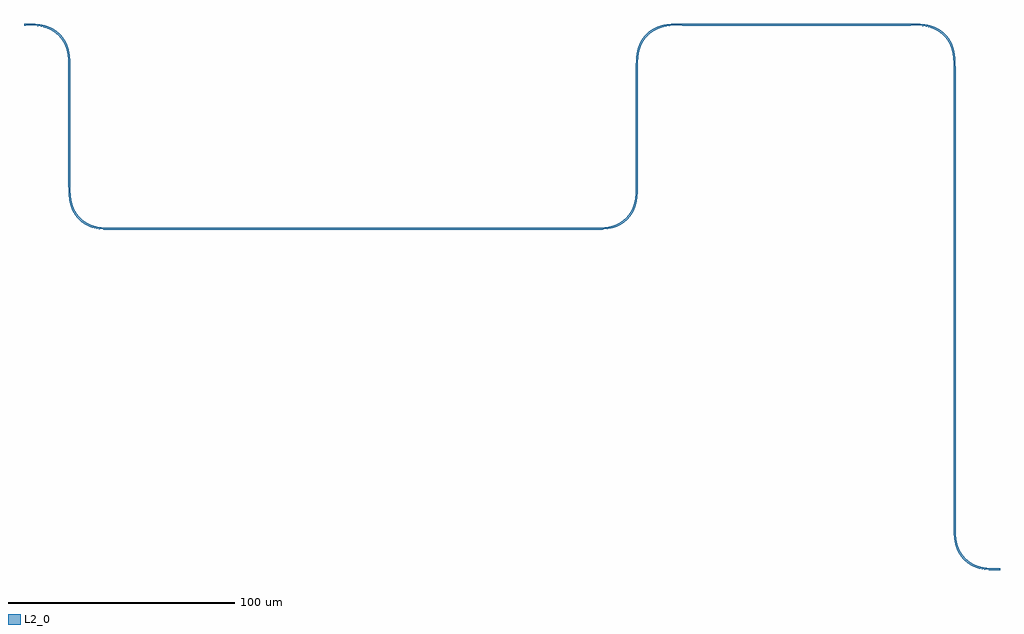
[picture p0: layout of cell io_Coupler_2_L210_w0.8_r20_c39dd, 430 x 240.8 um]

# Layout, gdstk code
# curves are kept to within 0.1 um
from math import pi, radians
import gdstk
lib = gdstk.Library(unit=1e-6, precision=1e-09)
def R(c, l, rs):  # rectangles x0, y0, x1, y1
    for r in rs: c.add(gdstk.rectangle(r[:2], r[2:], *l))
def P(c, l, *ps):  # polygons
    for p in ps: c.add(gdstk.Polygon(p, *l))
L2_0 = (2, 0)

straight_gdsfactorypcom_ = lib.new_cell('straight_gdsfactorypcom_d83b1bdf')
R(straight_gdsfactorypcom_, L2_0, [(0,-0.4,50,0.4)])

c_straight_gdsfactorypcom_ = lib.new_cell('straight_gdsfactorypcom_05114690')
R(c_straight_gdsfactorypcom_, L2_0, [(0,-0.4,210,0.4)])

c_straight_gdsfactorypcom__ = lib.new_cell('straight_gdsfactorypcom_837bf467')
R(c_straight_gdsfactorypcom__, L2_0, [(0,-0.4,100,0.4)])

c_straight_gdsfactorypcom___ = lib.new_cell('straight_gdsfactorypcom_71d76de8')
R(c_straight_gdsfactorypcom___, L2_0, [(0,-0.4,200,0.4)])

bend_euler_gdsfactorypc_ = lib.new_cell('bend_euler_gdsfactorypc_3c996f5a')
P(bend_euler_gdsfactorypc_, L2_0, [(0,-0.4),(0,0.4),(5.697,0.599),(7.863,0.93),(9.843,1.459),(11.318,2.047),(12.676,2.776),(13.982,3.683),(15.151,4.711),(16.237,5.916),(17.173,7.241),(17.946,8.667),(18.515,10.08),(19.04,11.993),(19.394,14.238),(19.562,16.7),(19.6,20),(20.4,20),(20.23,14.555),(19.941,12.425),(19.503,10.554),(18.847,8.72),(18.013,7.083),(16.979,5.565),(15.798,4.226),(14.435,3.021),(12.917,1.987),(11.28,1.153),(9.511,0.516),(7.608,0.065),(5.529,-0.222)])

io_coupler_2_l210_w0_8_r = lib.new_cell('io_Coupler_2_L210_w0.8_r20_c39dd')
io_coupler_2_l210_w0_8_r.add(gdstk.Reference(straight_gdsfactorypcom_, (20,70), rotation=3*pi/2))
io_coupler_2_l210_w0_8_r.add(gdstk.Reference(c_straight_gdsfactorypcom_, (0,0), rotation=pi))
io_coupler_2_l210_w0_8_r.add(gdstk.Reference(straight_gdsfactorypcom_, (-230,20), rotation=pi/2))
io_coupler_2_l210_w0_8_r.add(gdstk.Reference(c_straight_gdsfactorypcom__, (40,90)))
io_coupler_2_l210_w0_8_r.add(gdstk.Reference(c_straight_gdsfactorypcom___, (160,-130), rotation=pi/2))
io_coupler_2_l210_w0_8_r.add(gdstk.Reference(bend_euler_gdsfactorypc_, (0,0)))
io_coupler_2_l210_w0_8_r.add(gdstk.Reference(bend_euler_gdsfactorypc_, (-230,20), rotation=3*pi/2))
io_coupler_2_l210_w0_8_r.add(gdstk.Reference(bend_euler_gdsfactorypc_, (40,90), rotation=pi))
io_coupler_2_l210_w0_8_r.add(gdstk.Reference(bend_euler_gdsfactorypc_, (-230,70), rotation=pi/2))
io_coupler_2_l210_w0_8_r.add(gdstk.Reference(bend_euler_gdsfactorypc_, (160,70), rotation=pi/2))
io_coupler_2_l210_w0_8_r.add(gdstk.Reference(bend_euler_gdsfactorypc_, (160,-130), rotation=3*pi/2))

lib.write_gds('io_Coupler_2_L210_w0.8_r20_c39dd.gds')
